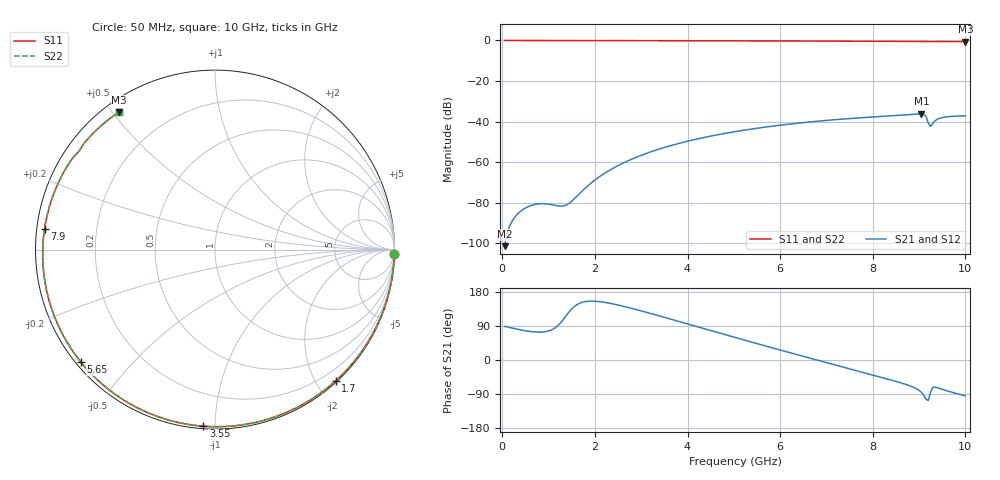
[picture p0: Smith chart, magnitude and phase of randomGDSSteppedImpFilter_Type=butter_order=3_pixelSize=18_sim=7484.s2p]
! freq	dB(S11)	phase(S11)	dB(S12)	phase(S12)
!  dB(S21)	phase(S21)	dB(S22)	phase(S22)
!S-par simulation data
#  GHz  S  DB  R 50
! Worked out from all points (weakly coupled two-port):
!   200 points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, 50 MHz to 10 GHz, reference 50 ohm
!   highest |S21| = -36.18 dB at 9.05 GHz (marker M1); lowest = -101.4 dB at 50 MHz (marker M2)
!   lowest |S11| = -0.6 dB at 10 GHz (marker M3), VSWR 29.50, Z = 2.16 + j26.1 ohm
!   |S11| at or under -10 dB: nowhere
!   |S22| runs from -0.6 to 0.0 dB; largest |S21 - S12| = 0
!   S11 on the Smith chart (normalised r, x): 50 MHz: 0, -79; 1.7 GHz: 0.02, -2.28; 3.55 GHz: 0.01, -0.94; 5.65 GHz: 0.01, -0.36; 7.9 GHz: 0.02, +0.06; 10 GHz: 0.04, +0.52
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0.05  -0.00 -1.4  -101.44 88.7  -101.44 88.7  -0.00 -1.4
0.7  -0.03 -19.8  -80.91 74.0  -80.91 74.0  -0.03 -19.8
1.45  -0.05 -40.6  -80.18 128.1  -80.18 128.1  -0.05 -40.6
1.7  -0.06 -47.3  -74.77 151.1  -74.77 151.1  -0.06 -47.3
1.75  -0.06 -48.7  -73.67 152.9  -73.67 152.9  -0.06 -48.7
2.05  -0.07 -56.6  -67.96 154.6  -67.96 154.6  -0.07 -56.6
2.45  -0.08 -66.9  -62.29 146.4  -62.29 146.4  -0.08 -66.9
3.4  -0.11 -90.2  -53.47 116.0  -53.47 116.0  -0.11 -90.2
3.55  -0.12 -93.8  -52.43 110.8  -52.43 110.8  -0.12 -93.8
4.25  -0.15 -109.8  -48.36 86.4  -48.36 86.4  -0.15 -109.8
5.05  -0.18 -127.3  -44.87 58.7  -44.87 58.7  -0.18 -127.3
5.65  -0.22 -140.0  -42.81 38.2  -42.81 38.2  -0.22 -140.0
6.7  -0.29 -161.8  -40.05 3.0  -40.05 3.0  -0.29 -161.8
7.9  -0.39 173.0  -37.88 -36.3  -37.88 -36.3  -0.39 173.0
8.35  -0.43 163.2  -37.25 -51.3  -37.25 -51.3  -0.43 163.3
9.05  -0.51 147.3  -36.18 -85.5  -36.18 -85.5  -0.51 147.4
9.15  -0.56 145.0  -37.50 -103.8  -37.50 -103.8  -0.56 145.1
9.2  -0.59 144.1  -40.78 -106.7  -40.78 -106.7  -0.59 144.1
9.25  -0.57 143.1  -42.39 -83.6  -42.39 -83.6  -0.57 143.2
9.35  -0.54 140.8  -39.47 -71.7  -39.47 -71.7  -0.54 140.8
9.45  -0.54 138.4  -38.33 -75.4  -38.33 -75.4  -0.54 138.4
10  -0.59 124.8  -37.16 -94.5  -37.16 -94.5  -0.59 124.8
